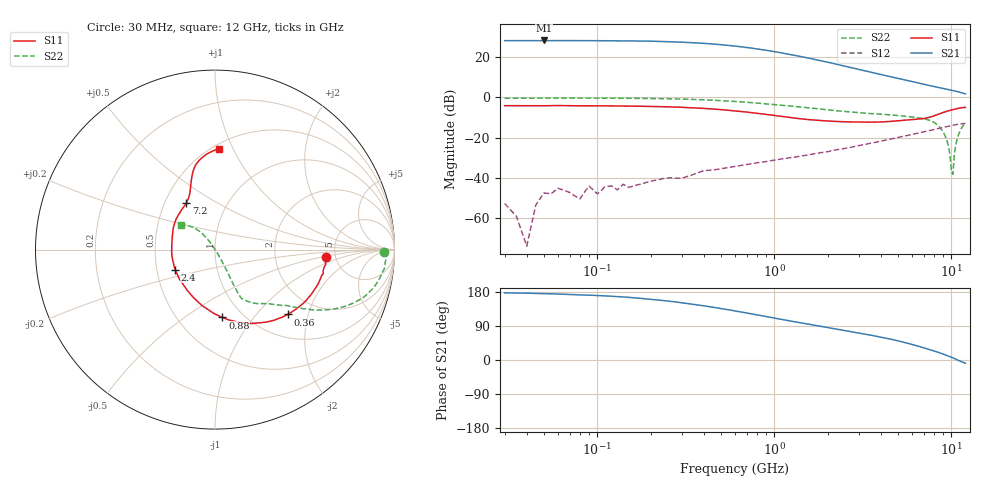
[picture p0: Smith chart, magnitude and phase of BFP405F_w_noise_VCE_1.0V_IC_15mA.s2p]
! Infineon Technologies  Discrete & RF Semiconductors
! BFP405F
! VCE =  1.0 V,  IC =  15 mA
! Common Emitter S-Parameters:  Nov 2015
# GHz  S  MA  R  50
!  f  S11  S21  S12  S22
! GHz  MAG  ANG  MAG  ANG  MAG  ANG  MAG  ANG
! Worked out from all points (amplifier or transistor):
!   239 points, 30 MHz to 12 GHz, reference 50 ohm
!   highest |S21| = 28.2 dB at 50 MHz (marker M1)
!   |S21| within 3 dB of that: start of sweep to 628.8 MHz
!   unconditionally stable (mu >= 1): 36.45 MHz to 41.77 MHz; 1.596 GHz to end of sweep
!   at 300 MHz: K = 0.29, MSG = 33.8 dB, |S12| = -40.3 dB
!   at 1.88 GHz: K = 1.10, MAG = 20.8 dB, |S12| = -27.4 dB
!   at 12 GHz: K = 1.42, MAG = 3.4 dB, |S12| = -12.9 dB
!   lowest NFmin = 1.97 dB at 450 MHz
!   S11 on the Smith chart (normalised r, x): 30 MHz: 4.18, -0.56; 360 MHz: 1.46, -1.49; 880 MHz: 0.81, -0.71; 2.4 GHz: 0.62, -0.15; 7.2 GHz: 0.64, +0.37; 12 GHz: 0.54, +0.88
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0.03  0.6193 -3.8  25.49 177.1  0.0023 -152.2  0.9437 -0.9
0.04  0.6168 -5.2  25.59 176.4  0.0002 67.5  0.9515 -1.4
0.045  0.6163 -5.5  25.69 175.6  0.0021 145.7  0.9537 -1.6
0.05  0.6159 -5.9  25.79 174.9  0.0042 148.4  0.9559 -1.8
0.085  0.6145 -10.8  25.5 171.4  0.0045 82.2  0.9519 -3.9
0.15  0.605 -18.8  25.2 165.4  0.0058 95.5  0.9429 -7.4
0.24  0.5822 -29.0  24.17 156.6  0.0097 74.9  0.9214 -11.6
0.3  0.5635 -35.3  23.41 151.1  0.0097 81.0  0.9022 -14.3
0.36  0.5428 -41.7  22.45 146.1  0.0127 76.2  0.88 -16.7
0.45  0.5118 -50.4  21.06 139.3  0.0156 70.4  0.8451 -19.7
0.6  0.4599 -63.6  18.68 129.4  0.0193 70.0  0.787 -23.8
0.7  0.4289 -71.2  17.27 123.9  0.0215 68.0  0.7519 -25.9
0.88  0.3801 -83.8  14.95 115.4  0.025 64.5  0.6935 -29.0
1.2  0.3199 -103.2  11.81 103.9  0.031 65.0  0.6143 -32.7
1.64  0.2737 -124.7  8.976 92.9  0.0387 63.9  0.5361 -36.4
2.4  0.2477 -153.4  6.199 79.3  0.0516 63.3  0.4509 -42.8
4.5  0.2508 160.9  3.263 55.4  0.0907 57.4  0.3659 -54.2
7.2  0.3043 121.7  2.043 30.3  0.1418 45.3  0.284 -62.1
9.2  0.4336 107.0  1.617 13.9  0.1819 34.6  0.1122 -60.3
10.2  0.4933 101.6  1.47 5.6  0.2017 28.5  0.0122 121.4
10.8  0.5243 96.6  1.385 0.4  0.2114 24.5  0.0942 127.4
12  0.5597 87.5  1.212 -8.3  0.2258 18.6  0.2322 144.1
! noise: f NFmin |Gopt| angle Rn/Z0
0.45  1.97  0.11  2  0.35
0.9  1.99  0.1  4  0.33
1.5  2.03  0.08  8  0.23
1.9  2.09  0.06  10  0.28
2.4  2.24  0.04  13  0.42
3  2.32  0.03  6  0.36
3.5  2.38  0.01  -46  0.48
4.5  2.58  0.08  -93  0.25
5.5  2.83  0.16  -88  0.1
